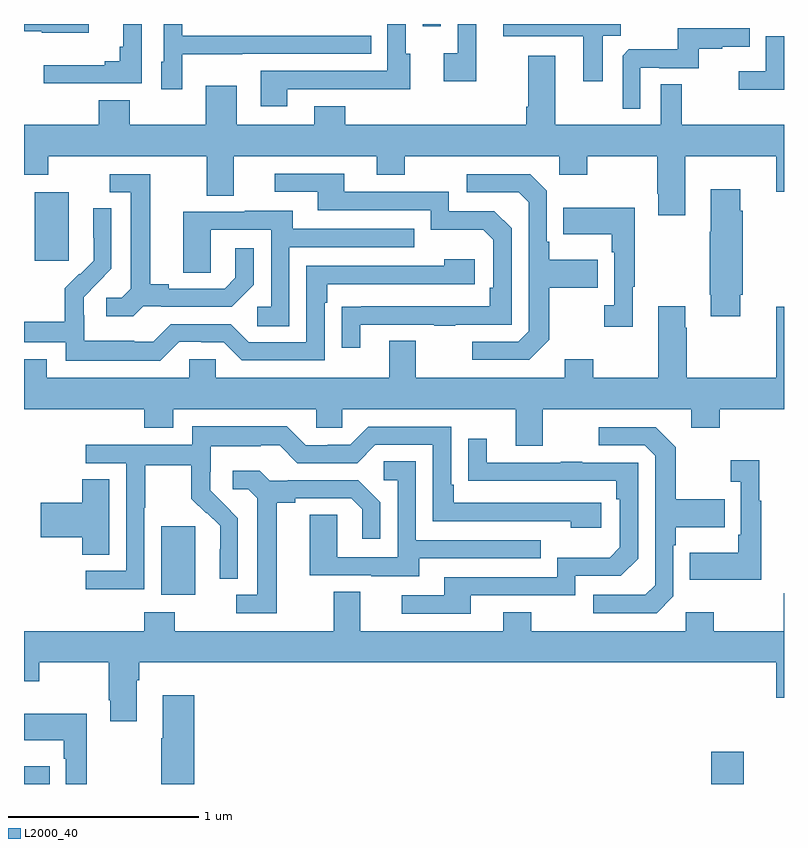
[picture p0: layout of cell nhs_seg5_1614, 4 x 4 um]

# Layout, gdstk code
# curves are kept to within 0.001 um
import gdstk
lib = gdstk.Library(unit=1e-6, precision=1e-09)
def R(c, l, rs):  # rectangles x0, y0, x1, y1
    for r in rs: c.add(gdstk.rectangle(r[:2], r[2:], *l))
def P(c, l, *ps):  # polygons
    for p in ps: c.add(gdstk.Polygon(p, *l))
L2000_40 = (2000, 40)

nhs_seg5_1614 = lib.new_cell('nhs_seg5_1614')
R(nhs_seg5_1614, L2000_40, [(209,842.799,209.135,842.893), (212.618,842.799,212.788,842.968), (209.723,843.794,209.902,844.155), (209.057,845.553,209.236,845.914), (211.098,846.786,211.194,846.799)])
P(nhs_seg5_1614, L2000_40, [(210.385,846.456),(210.815,846.456),(210.815,846.455),(211.033,846.455),(211.033,846.642),(211.008,846.642),(211.008,846.799),(210.912,846.799),(210.912,846.552),(210.245,846.552),(210.245,846.366),(210.385,846.366)],
  [(209.341,846.799),(209,846.799),(209,846.761),(209.094,846.761),(209.094,846.752),(209.341,846.752)],
  [(211.381,846.799),(211.284,846.799),(211.284,846.646),(211.209,846.646),(211.209,846.498),(211.381,846.498)],
  [(212.047,846.736),(212.142,846.736),(212.142,846.799),(211.523,846.799),(211.523,846.734),(211.943,846.734),(211.943,846.498),(212.047,846.498)],
  [(209.832,846.641),(210.149,846.641),(210.149,846.642),(210.827,846.642),(210.827,846.738),(209.832,846.738),(209.832,846.799),(209.736,846.799),(209.736,846.6),(209.723,846.6),(209.723,846.456),(209.832,846.456)],
  [(209.619,846.799),(209.522,846.799),(209.522,846.679),(209.503,846.679),(209.503,846.602),(209.426,846.602),(209.426,846.583),(209.103,846.583),(209.103,846.486),(209.619,846.486)],
  [(212.244,846.57),(212.344,846.57),(212.344,846.567),(212.552,846.567),(212.552,846.669),(212.675,846.669),(212.675,846.68),(212.819,846.68),(212.819,846.777),(212.442,846.777),(212.442,846.665),(212.183,846.665),(212.151,846.633),(212.151,846.353),(212.244,846.353)],
  [(213,846.735),(212.904,846.735),(212.904,846.55),(212.763,846.55),(212.763,846.452),(213,846.452)],
  [(209.963,845.896),(210.103,845.896),(210.103,846.104),(210.857,846.104),(210.857,846.005),(211.005,846.005),(211.005,846.104),(211.818,846.104),(211.818,846.005),(211.965,846.005),(211.965,846.104),(212.332,846.104),(212.332,845.905),(212.339,845.905),(212.339,845.793),(212.479,845.793),(212.479,846.104),(212.96,846.104),(212.96,845.916),(213,845.916),(213,846.268),(212.461,846.268),(212.461,846.482),(212.352,846.482),(212.352,846.268),(211.795,846.268),(211.795,846.631),(211.655,846.631),(211.655,846.364),(211.643,846.364),(211.643,846.268),(210.691,846.268),(210.691,846.367),(210.527,846.367),(210.527,846.268),(210.121,846.268),(210.121,846.475),(209.957,846.475),(209.957,846.268),(209.557,846.268),(209.557,846.397),(209.393,846.397),(209.393,846.268),(209,846.268),(209,846.005),(209.127,846.005),(209.127,846.104),(209.963,846.104)],
  [(210.769,845.217),(211.159,845.217),(211.159,845.212),(211.271,845.212),(211.271,845.217),(211.566,845.217),(211.566,845.724),(211.476,845.814),(211.236,845.814),(211.236,845.916),(210.685,845.916),(210.685,846.012),(210.321,846.012),(210.321,845.916),(210.545,845.916),(210.545,845.82),(211.14,845.82),(211.14,845.717),(211.417,845.717),(211.47,845.664),(211.47,845.41),(211.45,845.41),(211.45,845.313),(210.673,845.312),(210.673,845.094),(210.769,845.094)],
  [(211.765,845.137),(211.765,845.41),(212.021,845.41),(212.021,845.557),(211.765,845.557),(211.765,845.653),(211.752,845.653),(211.752,845.922),(211.665,846.009),(211.329,846.009),(211.329,845.913),(211.605,845.913),(211.656,845.862),(211.656,845.181),(211.602,845.127),(211.359,845.127),(211.359,845.031),(211.659,845.031)],
  [(209.628,845.313),(209.722,845.313),(209.722,845.31),(210.094,845.31),(210.21,845.426),(210.21,845.62),(210.113,845.62),(210.113,845.463),(210.056,845.406),(209.761,845.406),(209.761,845.429),(209.665,845.429),(209.665,846.009),(209.451,846.009),(209.451,845.913),(209.561,845.913),(209.561,845.405),(209.514,845.358),(209.433,845.358),(209.433,845.261),(209.576,845.261)],
  [(212.77,845.374),(212.783,845.374),(212.783,845.816),(212.77,845.816),(212.77,845.929),(212.615,845.929),(212.615,845.705),(212.608,845.705),(212.608,845.374),(212.615,845.374),(212.615,845.262),(212.77,845.262)],
  [(212.203,845.417),(212.215,845.417),(212.215,845.833),(211.837,845.833),(211.837,845.693),(212.094,845.693),(212.094,845.597),(212.106,845.597),(212.106,845.318),(212.055,845.318),(212.055,845.205),(212.203,845.205)],
  [(209.817,845.127),(209.933,845.127),(209.933,845.124),(210.051,845.124),(210.147,845.028),(210.582,845.028),(210.582,845.333),(210.595,845.333),(210.595,845.43),(211.372,845.43),(211.372,845.56),(211.211,845.56),(211.211,845.526),(210.486,845.526),(210.486,845.124),(210.183,845.124),(210.087,845.22),(209.772,845.22),(209.679,845.127),(209.579,845.127),(209.579,845.131),(209.316,845.131),(209.316,845.265),(209.314,845.265),(209.314,845.362),(209.46,845.51),(209.46,845.828),(209.364,845.828),(209.364,845.674),(209.366,845.674),(209.366,845.552),(209.295,845.481),(209.292,845.484),(209.215,845.407),(209.215,845.233),(209,845.233),(209,845.124),(209.22,845.124),(209.22,845.027),(209.717,845.027)],
  [(210.396,845.625),(211.055,845.625),(211.055,845.721),(210.415,845.721),(210.415,845.815),(210.161,845.815),(210.161,845.811),(209.837,845.811),(209.837,845.491),(209.982,845.491),(209.982,845.715),(210.3,845.715),(210.3,845.31),(210.228,845.31),(210.228,845.209),(210.396,845.209)],
  [(211.729,844.772),(212.513,844.772),(212.513,844.673),(212.661,844.673),(212.661,844.772),(213,844.772),(213,845.311),(212.96,845.311),(212.96,844.936),(212.487,844.936),(212.487,845.201),(212.479,845.201),(212.479,845.314),(212.339,845.314),(212.339,844.936),(211.995,844.936),(211.995,845.035),(211.847,845.035),(211.847,844.936),(211.063,844.936),(211.063,845.131),(210.923,845.131),(210.923,844.936),(210.009,844.936),(210.009,845.034),(209.871,845.034),(209.871,844.936),(209.119,844.936),(209.119,845.035),(209,845.035),(209,844.772),(209.633,844.772),(209.633,844.673),(209.785,844.673),(209.785,844.772),(210.537,844.772),(210.537,844.674),(210.675,844.674),(210.675,844.772),(211.589,844.772),(211.589,844.578),(211.729,844.578)],
  [(209.634,844.252),(209.637,844.252),(209.637,844.476),(209.881,844.476),(209.881,844.301),(209.958,844.224),(209.961,844.227),(210.032,844.157),(210.032,844.034),(210.03,844.034),(210.03,843.88),(210.126,843.88),(210.126,844.198),(209.98,844.346),(209.98,844.443),(209.982,844.443),(209.982,844.577),(210.245,844.577),(210.245,844.581),(210.345,844.581),(210.438,844.488),(210.753,844.488),(210.849,844.584),(211.152,844.584),(211.152,844.182),(211.877,844.182),(211.877,844.148),(212.038,844.148),(212.038,844.278),(211.261,844.278),(211.261,844.375),(211.248,844.375),(211.248,844.68),(210.813,844.68),(210.717,844.584),(210.599,844.584),(210.599,844.581),(210.483,844.581),(210.383,844.681),(209.886,844.681),(209.886,844.584),(209.325,844.584),(209.325,844.488),(209.538,844.488),(209.538,843.921),(209.325,843.921),(209.325,843.823),(209.634,843.823)],
  [(212.418,843.786),(212.418,844.055),(212.431,844.055),(212.431,844.151),(212.687,844.151),(212.687,844.299),(212.431,844.299),(212.431,844.571),(212.325,844.677),(212.025,844.677),(212.025,844.581),(212.268,844.581),(212.322,844.527),(212.322,843.846),(212.271,843.795),(211.995,843.795),(211.995,843.699),(212.331,843.699)],
  [(211.351,843.792),(211.902,843.792),(211.902,843.894),(212.142,843.894),(212.232,843.984),(212.232,844.491),(211.937,844.491),(211.937,844.496),(211.825,844.496),(211.825,844.491),(211.435,844.491),(211.435,844.615),(211.339,844.615),(211.339,844.396),(212.116,844.395),(212.116,844.298),(212.136,844.298),(212.136,844.044),(212.083,843.991),(211.806,843.991),(211.806,843.888),(211.211,843.888),(211.211,843.792),(210.987,843.792),(210.987,843.696),(211.351,843.696)],
  [(212.881,844.291),(212.869,844.291),(212.869,844.504),(212.721,844.504),(212.721,844.391),(212.772,844.391),(212.772,844.111),(212.76,844.111),(212.76,844.015),(212.503,844.015),(212.503,843.875),(212.881,843.875)],
  [(211.081,843.987),(211.721,843.987),(211.721,844.083),(211.062,844.083),(211.062,844.499),(210.894,844.499),(210.894,844.398),(210.966,844.398),(210.966,843.993),(210.648,843.993),(210.648,844.217),(210.503,844.217),(210.503,843.897),(210.827,843.897),(210.827,843.893),(211.081,843.893)],
  [(210.331,844.28),(210.427,844.28),(210.427,844.302),(210.722,844.302),(210.779,844.245),(210.779,844.089),(210.876,844.089),(210.876,844.282),(210.76,844.398),(210.388,844.398),(210.388,844.395),(210.294,844.395),(210.242,844.447),(210.099,844.447),(210.099,844.35),(210.18,844.35),(210.227,844.303),(210.227,843.795),(210.117,843.795),(210.117,843.699),(210.331,843.699)],
  [(209.449,844.403),(209.306,844.403),(209.306,844.28),(209.088,844.28),(209.088,844.097),(209.306,844.097),(209.306,844.006),(209.449,844.006)],
  [(209.593,843.344),(209.606,843.344),(209.606,843.44),(212.96,843.44),(212.96,843.252),(213,843.252),(213,843.803),(212.998,843.803),(212.998,843.604),(212.631,843.604),(212.631,843.703),(212.484,843.703),(212.484,843.604),(211.671,843.604),(211.671,843.703),(211.523,843.703),(211.523,843.604),(210.769,843.604),(210.769,843.812),(210.629,843.812),(210.629,843.604),(209.793,843.604),(209.793,843.703),(209.633,843.703),(209.633,843.604),(209,843.604),(209,843.341),(209.079,843.341),(209.079,843.44),(209.446,843.44),(209.446,843.241),(209.453,843.241),(209.453,843.129),(209.593,843.129)],
  [(209.897,843.265),(209.729,843.265),(209.729,843.041),(209.722,843.041),(209.722,842.799),(209.897,842.799)],
  [(209.329,843.169),(209,843.169),(209,843.029),(209.208,843.029),(209.208,842.933),(209.22,842.933),(209.22,842.799),(209.329,842.799)])

lib.write_gds('nhs_seg5_1614.gds')
